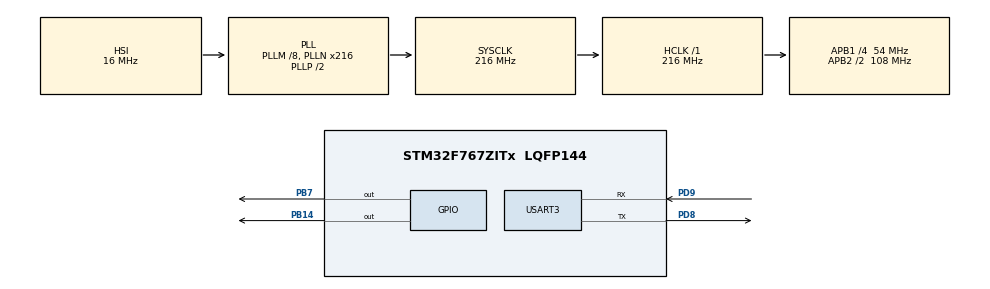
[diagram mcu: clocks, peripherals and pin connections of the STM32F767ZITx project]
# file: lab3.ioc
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Mcu.Family=STM32F7
Mcu.Name=STM32F767ZITx
Mcu.Package=LQFP144
NVIC.PriorityGroup=NVIC_PRIORITYGROUP_4
NVIC.TIM1_UP_TIM10_IRQn=true\:15\:0\:false\:false\:true\:false\:true
NVIC.TimeBase=TIM1_UP_TIM10_IRQn
NVIC.TimeBaseIP=TIM1
PB14.Signal=GPIO_Output
PB7.Signal=GPIO_Output
PD8.Mode=Asynchronous
PD8.Signal=USART3_TX
PD9.Mode=Asynchronous
PD9.Signal=USART3_RX
ProjectManager.HeapSize=0x200
ProjectManager.StackSize=0x400
ProjectManager.TargetToolchain=STM32CubeIDE
RCC.AHBFreq_Value=216000000
RCC.APB1CLKDivider=RCC_HCLK_DIV4
RCC.APB1Freq_Value=54000000
RCC.APB1TimFreq_Value=108000000
RCC.APB2CLKDivider=RCC_HCLK_DIV2
RCC.APB2Freq_Value=108000000
RCC.APB2TimFreq_Value=216000000
RCC.CortexFreq_Value=216000000
RCC.HCLKFreq_Value=216000000
RCC.HSE_VALUE=25000000
RCC.HSI_VALUE=16000000
RCC.LSE_VALUE=32768
RCC.PLLM=8
RCC.PLLN=216
RCC.SYSCLKFreq_VALUE=216000000
RCC.SYSCLKSource=RCC_SYSCLKSOURCE_PLLCLK
RCC.USBFreq_Value=216000000
RCC.VCOOutputFreq_Value=432000000
USART3.VirtualMode-Asynchronous=VM_ASYNC
VP_SYS_VS_tim1.Mode=TIM1
board=custom

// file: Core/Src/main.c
/* USER CODE BEGIN Header */
/**
  ******************************************************************************
  * @file           : main.c
  * @brief          : Main program body
  ******************************************************************************
  * @attention
  *
  * <h2><center>&copy; Copyright (c) 2021 STMicroelectronics.
  * All rights reserved.</center></h2>
  *
  * This software component is licensed by ST under BSD 3-Clause license,
  * the "License"; You may not use this file except in compliance with the
  * License. You may obtain a copy of the License at:
  *                        opensource.org/licenses/BSD-3-Clause
  *
  ******************************************************************************
  */
/* USER CODE END Header */
#include "main.h"
#include "usart.h"
#include "gpio.h"

/* USER CODE BEGIN Includes */
#include "string.h"
/* USER CODE END Includes */

/* USER CODE BEGIN PV */
// 1_2   2_2    3_2   4_3
//char str[] ="Hello, World!!\r\n";

//char ch1='A';

/*
char inputLabel[] ="Input => ";
char input;
char enter[] ="\r\n";
*/

char inputLabel[] ="Input => ";
char input;
char enter[] ="\r\n";
char string4[]="Display Blinking LED PRESS (1, 2)\r\nDisplay Group Members PRESS m\r\nQuit PRESS q\r\n";
char m[]="62011038\r\nAon-anong Panplang\r\n";

/* USER CODE END PV */

void SystemClock_Config(void);

int main(void)
{

  /* MCU Configuration--------------------------------------------------------*/

  /* Reset of all peripherals, Initializes the Flash interface and the Systick. */
  HAL_Init();

  /* Configure the system clock */
  SystemClock_Config();

  /* Initialize all configured peripherals */
  MX_GPIO_Init();
  MX_USART3_UART_Init();

  /* Infinite loop */
  /* USER CODE BEGIN WHILE */

  while(__HAL_UART_GET_FLAG(&huart3,UART_FLAG_TC)==RESET){}
  HAL_UART_Transmit(&huart3,(uint8_t*)string4,strlen(string4),1000);

  while (1)
  {
    /* USER CODE END WHILE */

    /* USER CODE BEGIN 3 */
	  /*
	  while(__HAL_UART_GET_FLAG(&huart3,UART_FLAG_TC)==RESET){}
	  HAL_UART_Transmit(&huart3,(uint8_t*)str,strlen(str),1000);
	  HAL_Delay(500);
*/

/*
	  while(__HAL_UART_GET_FLAG(&huart3,UART_FLAG_TC)==RESET){}
	  HAL_UART_Transmit(&huart3, (uint8_t*) &ch1, sizeof(ch1), 1000);
	  HAL_Delay(500);

*/
/*
	  while(__HAL_UART_GET_FLAG(&huart3,UART_FLAG_TC)==RESET){}
	  HAL_UART_Transmit(&huart3,(uint8_t*)inputLabel,strlen(inputLabel),1000);
	  while(__HAL_UART_GET_FLAG(&huart3,UART_FLAG_RXNE)==RESET){}
	  HAL_UART_Receive(&huart3,(uint8_t*)&input, sizeof(input), 1000);
	  while(__HAL_UART_GET_FLAG(&huart3,UART_FLAG_TC)==RESET){}
	  HAL_UART_Transmit(&huart3,(uint8_t*)&input,sizeof(input),1000);
	  while(__HAL_UART_GET_FLAG(&huart3,UART_FLAG_TC)==RESET){}
	  HAL_UART_Transmit(&huart3,(uint8_t*)enter,strlen(enter),1000);

	  if(input=='q'){
		  while(__HAL_UART_GET_FLAG(&huart3,UART_FLAG_TC)==RESET){}
		  HAL_UART_Transmit(&huart3,"QUIT",5,1000);
		  break;
	  }
*/

	  HAL_UART_Transmit(&huart3,(uint8_t*)inputLabel,strlen(inputLabel),1000);
	  while(__HAL_UART_GET_FLAG(&huart3,UART_FLAG_RXNE)==RESET){}
	  HAL_UART_Receive(&huart3,(uint8_t*)&input, sizeof(input), 1000);
	  while(__HAL_UART_GET_FLAG(&huart3,UART_FLAG_TC)==RESET){}
	  HAL_UART_Transmit(&huart3,(uint8_t*)&input,sizeof(input),1000);
	  while(__HAL_UART_GET_FLAG(&huart3,UART_FLAG_TC)==RESET){}
	  HAL_UART_Transmit(&huart3,(uint8_t*)enter,strlen(enter),1000);

	  if(input=='q'){
		  while(__HAL_UART_GET_FLAG(&huart3,UART_FLAG_TC)==RESET){}
		  HAL_UART_Transmit(&huart3,"QUIT",5,1000);
		  break;
	  }else if(input=='1'){
		  for(int i =0;i<3;i++)
		  {
			  HAL_GPIO_WritePin(GPIOB, GPIO_PIN_14, GPIO_PIN_SET);
			  HAL_Delay(300);
			  HAL_GPIO_WritePin(GPIOB, GPIO_PIN_14, GPIO_PIN_RESET);
			  HAL_Delay(300);
		  }
	  }else if(input=='2'){
		  for(int i =0;i<3;i++)
		  {
			  HAL_GPIO_WritePin(GPIOB, GPIO_PIN_7, GPIO_PIN_SET);
			  HAL_Delay(300);
			  HAL_GPIO_WritePin(GPIOB, GPIO_PIN_7, GPIO_PIN_RESET);
			  HAL_Delay(300);
		  }
	  }else if(input=='m'){
		  while(__HAL_UART_GET_FLAG(&huart3,UART_FLAG_TC)==RESET){}
		  HAL_UART_Transmit(&huart3,(uint8_t*)m,strlen(m),1000);
	  }else{
		  while(__HAL_UART_GET_FLAG(&huart3,UART_FLAG_TC)==RESET){}
		  HAL_UART_Transmit(&huart3,"Unknown Command\r\n",20,1000);
	  }

  }
  /* USER CODE END 3 */
}

void SystemClock_Config(void)
{
  RCC_OscInitTypeDef RCC_OscInitStruct = {0};
  RCC_ClkInitTypeDef RCC_ClkInitStruct = {0};
  RCC_PeriphCLKInitTypeDef PeriphClkInitStruct = {0};

  /** Configure the main internal regulator output voltage
  */
  __HAL_RCC_PWR_CLK_ENABLE();
  __HAL_PWR_VOLTAGESCALING_CONFIG(PWR_REGULATOR_VOLTAGE_SCALE1);
  /** Initializes the RCC Oscillators according to the specified parameters
  * in the RCC_OscInitTypeDef structure.
  */
  RCC_OscInitStruct.OscillatorType = RCC_OSCILLATORTYPE_HSI;
  RCC_OscInitStruct.HSIState = RCC_HSI_ON;
  RCC_OscInitStruct.HSICalibrationValue = RCC_HSICALIBRATION_DEFAULT;
  RCC_OscInitStruct.PLL.PLLState = RCC_PLL_ON;
  RCC_OscInitStruct.PLL.PLLSource = RCC_PLLSOURCE_HSI;
  RCC_OscInitStruct.PLL.PLLM = 8;
  RCC_OscInitStruct.PLL.PLLN = 216;
  RCC_OscInitStruct.PLL.PLLP = RCC_PLLP_DIV2;
  RCC_OscInitStruct.PLL.PLLQ = 2;
  RCC_OscInitStruct.PLL.PLLR = 2;
  if (HAL_RCC_OscConfig(&RCC_OscInitStruct) != HAL_OK)
  {
    Error_Handler();
  }
  /** Activate the Over-Drive mode
  */
  if (HAL_PWREx_EnableOverDrive() != HAL_OK)
  {
    Error_Handler();
  }
  /** Initializes the CPU, AHB and APB buses clocks
  */
  RCC_ClkInitStruct.ClockType = RCC_CLOCKTYPE_HCLK|RCC_CLOCKTYPE_SYSCLK
                              |RCC_CLOCKTYPE_PCLK1|RCC_CLOCKTYPE_PCLK2;
  RCC_ClkInitStruct.SYSCLKSource = RCC_SYSCLKSOURCE_PLLCLK;
  RCC_ClkInitStruct.AHBCLKDivider = RCC_SYSCLK_DIV1;
  RCC_ClkInitStruct.APB1CLKDivider = RCC_HCLK_DIV4;
  RCC_ClkInitStruct.APB2CLKDivider = RCC_HCLK_DIV2;

  if (HAL_RCC_ClockConfig(&RCC_ClkInitStruct, FLASH_LATENCY_7) != HAL_OK)
  {
    Error_Handler();
  }
  PeriphClkInitStruct.PeriphClockSelection = RCC_PERIPHCLK_USART3;
  PeriphClkInitStruct.Usart3ClockSelection = RCC_USART3CLKSOURCE_PCLK1;
  if (HAL_RCCEx_PeriphCLKConfig(&PeriphClkInitStruct) != HAL_OK)
  {
    Error_Handler();
  }
}

void HAL_TIM_PeriodElapsedCallback(TIM_HandleTypeDef *htim)
{
  if (htim->Instance == TIM1) {
    HAL_IncTick();
  }
}

void Error_Handler(void)
{
  __disable_irq();
  while (1)
  {
  }
}

/************************ (C) COPYRIGHT STMicroelectronics *****END OF FILE****/
